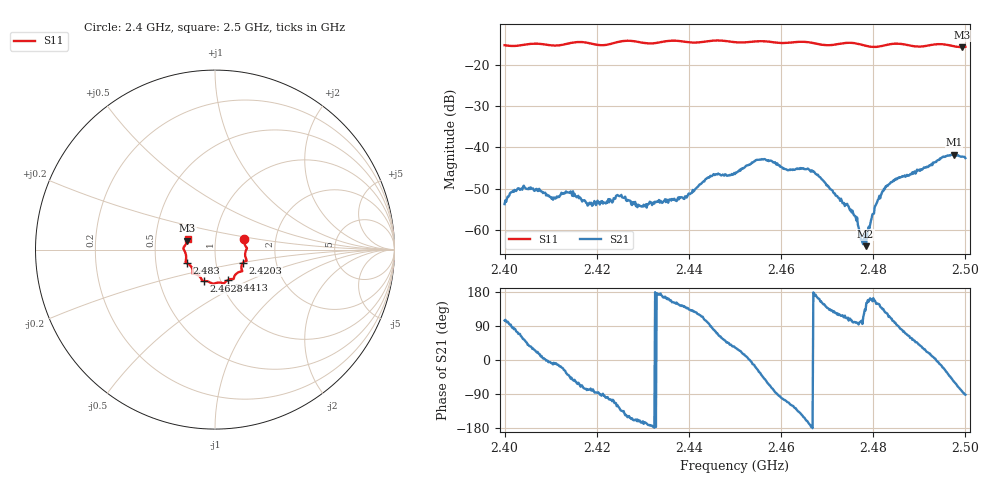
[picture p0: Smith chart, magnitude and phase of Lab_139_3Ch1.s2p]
# Hz S RI R 50
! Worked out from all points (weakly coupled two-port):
!   601 points, 2.4 GHz to 2.5 GHz, reference 50 ohm
!   highest |S21| = -41.73 dB at 2.4975 GHz (marker M1); lowest = -63.8 dB at 2.4783 GHz (marker M2)
!   lowest |S11| = -15.8 dB at 2.4993 GHz (marker M3), VSWR 1.39, Z = 36.5 + j3.7 ohm
!   |S11| at or under -10 dB: start of sweep to end of sweep
!   S12 and S22 are empty: the file has one direction only
!   S11 on the Smith chart (normalised r, x): 2.4 GHz: 1.37, +0.16; 2.4203 GHz: 1.35, -0.21; 2.4413 GHz: 1.09, -0.38; 2.4628 GHz: 0.83, -0.30; 2.483 GHz: 0.72, -0.11; 2.5 GHz: 0.73, +0.09
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2.4e9  0.1611 0.0569  -0.00051 0.00201  0 0  0 0
2.4045e9  0.1733 0.0149  0.0021 0.00248  0 0  0 0
2.416667e9  0.1762 -0.0616  0.000931 -0.00216  0 0  0 0
2.420333e9  0.1552 -0.0741  0.00018 -0.00218  0 0  0 0
2.424833e9  0.1498 -0.1139  -0.00149 -0.00212  0 0  0 0
2.429333e9  0.1385 -0.1238  -0.00185 -0.00068  0 0  0 0
2.433333e9  0.1081 -0.1484  -0.0022 0.000242  0 0  0 0
2.441333e9  0.0745 -0.1681  -0.00186 0.00251  0 0  0 0
2.445e9  0.0522 -0.1864  0.000377 0.0045  0 0  0 0
2.45e9  0.0292 -0.1837  0.00401 0.00259  0 0  0 0
2.456e9  -0.0119 -0.1906  0.00516 -0.00497  0 0  0 0
2.462833e9  -0.0633 -0.1747  -0.00309 -0.00439  0 0  0 0
2.466667e9  -0.0743 -0.1673  -0.00529 -0.00036  0 0  0 0
2.474667e9  -0.1245 -0.1339  -0.000469 0.00188  0 0  0 0
2.4775e9  -0.1243 -0.1207  -0.000182 0.000756  0 0  0 0
2.478333e9  -0.125 -0.1131  -0.000419 0.000489  0 0  0 0
2.480833e9  -0.1374 -0.0889  -0.00188 0.00111  0 0  0 0
2.483e9  -0.1549 -0.0767  -0.00191 0.00292  0 0  0 0
2.483333e9  -0.157 -0.0757  -0.00144 0.00326  0 0  0 0
2.4975e9  -0.1639 0.0278  0.00448 -0.00686  0 0  0 0
2.499333e9  -0.1543 0.0494  0.000913 -0.00771  0 0  0 0
2.5e9  -0.1525 0.0584  -0.000204 -0.00743  0 0  0 0
